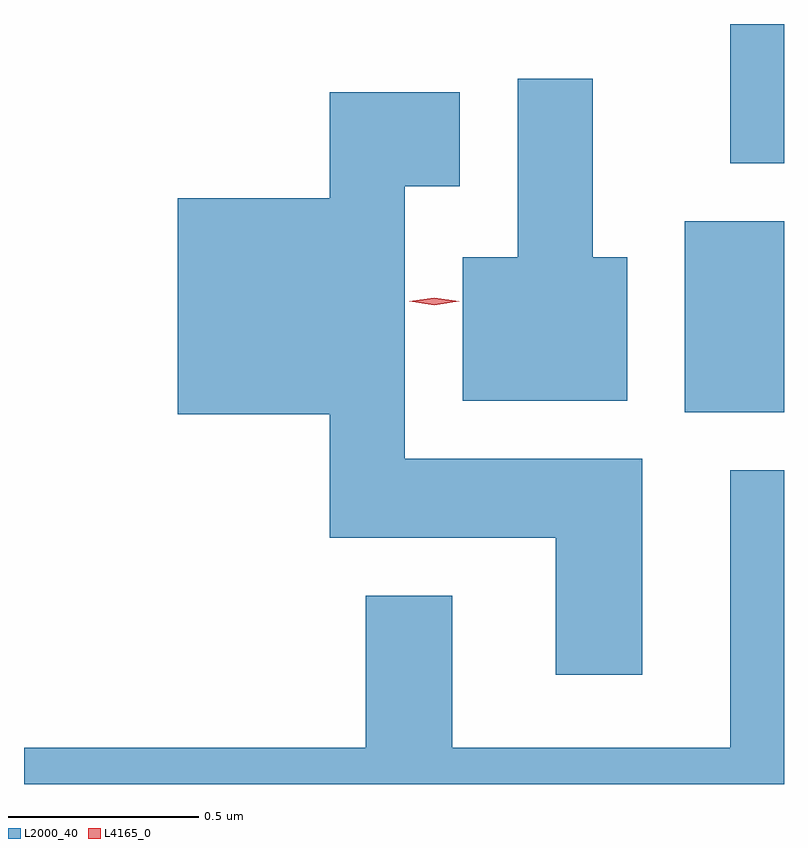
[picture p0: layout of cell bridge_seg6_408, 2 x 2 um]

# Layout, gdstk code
import gdstk
lib = gdstk.Library(unit=1e-6, precision=1e-09)
def R(c, l, rs):  # rectangles x0, y0, x1, y1
    for r in rs: c.add(gdstk.rectangle(r[:2], r[2:], *l))
def P(c, l, *ps):  # polygons
    for p in ps: c.add(gdstk.Polygon(p, *l))
L2000_40 = (2000, 40)
L4165_0 = (4165, 0)

bridge_seg6_408 = lib.new_cell('bridge_seg6_408')
R(bridge_seg6_408, L2000_40, [(948.091,1635.546,948.352,1636.049), (948.211,1636.201,948.352,1636.568)])
P(bridge_seg6_408, L2000_40, [(947.939,1635.954),(947.849,1635.954),(947.849,1636.424),(947.651,1636.424),(947.651,1635.954),(947.506,1635.954),(947.506,1635.576),(947.939,1635.576)],
  [(947.979,1635.424),(947.354,1635.424),(947.354,1636.141),(947.499,1636.141),(947.499,1636.389),(947.156,1636.389),(947.156,1636.109),(946.756,1636.109),(946.756,1635.541),(947.156,1635.541),(947.156,1635.216),(947.751,1635.216),(947.751,1634.856),(947.979,1634.856)],
  [(948.352,1635.394),(948.211,1635.394),(948.211,1634.664),(947.479,1634.664),(947.479,1635.064),(947.251,1635.064),(947.251,1634.664),(946.352,1634.664),(946.352,1634.568),(948.352,1634.568)])
P(bridge_seg6_408, L4165_0, [(947.432,1635.828),(947.366,1635.838),(947.366,1635.838),(947.366,1635.838),(947.432,1635.848),(947.498,1635.838),(947.498,1635.838),(947.498,1635.838)])

lib.write_gds('bridge_seg6_408.gds')
